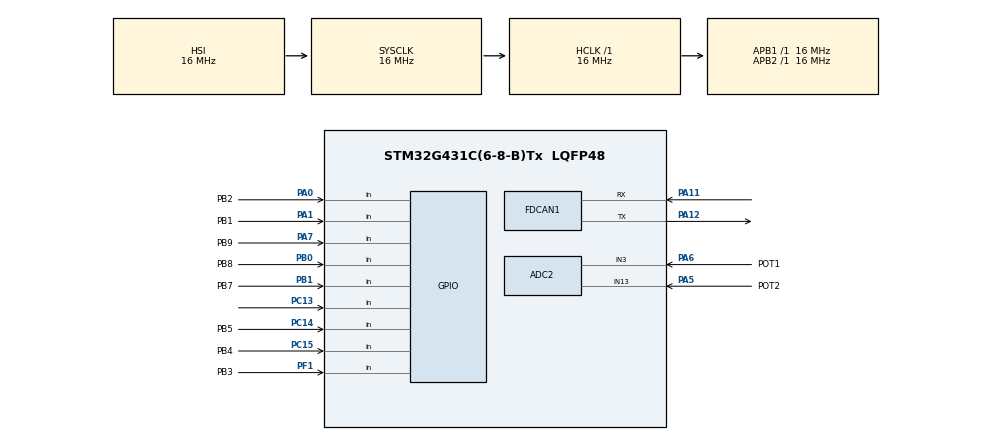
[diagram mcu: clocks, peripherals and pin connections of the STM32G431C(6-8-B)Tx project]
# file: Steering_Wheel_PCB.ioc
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ADC2.Channel-0\#ChannelRegularConversion=ADC_CHANNEL_13
ADC2.Channel-1\#ChannelRegularConversion=ADC_CHANNEL_3
ADC2.ClockPrescaler=ADC_CLOCK_ASYNC_DIV1
ADC2.ContinuousConvMode=DISABLE
ADC2.DMAContinuousRequests=ENABLE
ADC2.ExternalTrigConv=ADC_EXTERNALTRIG_T1_TRGO
ADC2.NbrOfConversion=2
ADC2.NbrOfConversionFlag=1
ADC2.OffsetNumber-0\#ChannelRegularConversion=ADC_OFFSET_NONE
ADC2.OffsetNumber-1\#ChannelRegularConversion=ADC_OFFSET_NONE
ADC2.Rank-0\#ChannelRegularConversion=1
ADC2.Rank-1\#ChannelRegularConversion=2
ADC2.SamplingTime-0\#ChannelRegularConversion=ADC_SAMPLETIME_2CYCLES_5
ADC2.SamplingTime-1\#ChannelRegularConversion=ADC_SAMPLETIME_2CYCLES_5
Dma.ADC2.0.Direction=DMA_PERIPH_TO_MEMORY
Dma.ADC2.0.EventEnable=DISABLE
Dma.ADC2.0.Instance=DMA1_Channel1
Dma.ADC2.0.MemDataAlignment=DMA_MDATAALIGN_HALFWORD
Dma.ADC2.0.MemInc=DMA_MINC_ENABLE
Dma.ADC2.0.Mode=DMA_CIRCULAR
Dma.ADC2.0.PeriphDataAlignment=DMA_PDATAALIGN_HALFWORD
Dma.ADC2.0.PeriphInc=DMA_PINC_DISABLE
Dma.ADC2.0.Polarity=HAL_DMAMUX_REQ_GEN_RISING
Dma.ADC2.0.Priority=DMA_PRIORITY_LOW
Dma.ADC2.0.RequestNumber=1
Dma.ADC2.0.SignalID=NONE
Dma.ADC2.0.SyncEnable=DISABLE
Dma.ADC2.0.SyncPolarity=HAL_DMAMUX_SYNC_NO_EVENT
Dma.ADC2.0.SyncRequestNumber=1
Dma.ADC2.0.SyncSignalID=NONE
Dma.Request0=ADC2
FDCAN1.CalculateBaudRateNominal=1000000
FDCAN1.CalculateTimeBitNominal=1000
FDCAN1.CalculateTimeQuantumNominal=50.0
FDCAN1.DataSyncJumpWidth=3
FDCAN1.DataTimeSeg1=16
FDCAN1.DataTimeSeg2=3
FDCAN1.NominalPrescaler=1
FDCAN1.NominalSyncJumpWidth=3
FDCAN1.NominalTimeSeg1=16
FDCAN1.NominalTimeSeg2=3
Mcu.Family=STM32G4
Mcu.Name=STM32G431C(6-8-B)Tx
Mcu.Package=LQFP48
NVIC.DMA1_Channel1_IRQn=true\:0\:0\:false\:false\:true\:false\:true\:true
NVIC.PriorityGroup=NVIC_PRIORITYGROUP_4
NVIC.TIM1_BRK_TIM15_IRQn=true\:0\:0\:false\:false\:true\:true\:true\:true
NVIC.TIM1_TRG_COM_TIM17_IRQn=true\:0\:0\:false\:false\:true\:true\:true\:true
NVIC.TIM1_UP_TIM16_IRQn=true\:0\:0\:false\:false\:true\:true\:true\:true
NVIC.TIM4_IRQn=true\:0\:0\:false\:false\:true\:true\:true\:true
PA0.GPIO_Label=PB2
PA0.Signal=GPIO_Input
PA1.GPIO_Label=PB1
PA1.Signal=GPIO_Input
PA11.Mode=FDCAN_Activate
PA11.Signal=FDCAN1_RX
PA12.Mode=FDCAN_Activate
PA12.Signal=FDCAN1_TX
PA13.Mode=Trace_Asynchronous_SW
PA13.Signal=SYS_JTMS-SWDIO
PA14.Mode=Trace_Asynchronous_SW
PA14.Signal=SYS_JTCK-SWCLK
PA5.GPIO_Label=POT2
PA5.Mode=IN13-Single-Ended
PA5.Signal=ADC2_IN13
PA6.GPIO_Label=POT1
PA6.Mode=IN3-Single-Ended
PA6.Signal=ADC2_IN3
PA7.GPIO_Label=PB9
PA7.Signal=GPIO_Input
PB0.GPIO_Label=PB8
PB0.Signal=GPIO_Input
PB1.GPIO_Label=PB7
PB1.Signal=GPIO_Input
PB3.Mode=Trace_Asynchronous_SW
PB3.Signal=SYS_JTDO-SWO
PC13.Signal=GPIO_Input
PC14-OSC32_IN.GPIO_Label=PB5
PC14-OSC32_IN.Signal=GPIO_Input
PC15-OSC32_OUT.GPIO_Label=PB4
PC15-OSC32_OUT.Signal=GPIO_Input
PF1-OSC_OUT.GPIO_Label=PB3
PF1-OSC_OUT.Signal=GPIO_Input
ProjectManager.HeapSize=0x200
ProjectManager.StackSize=0x400
ProjectManager.TargetToolchain=STM32CubeIDE
RCC.ADC12Freq_Value=16000000
RCC.AHBFreq_Value=16000000
RCC.APB1Freq_Value=16000000
RCC.APB1TimFreq_Value=16000000
RCC.APB2Freq_Value=16000000
RCC.APB2TimFreq_Value=16000000
RCC.CortexFreq_Value=16000000
RCC.EXTERNAL_CLOCK_VALUE=12288000
RCC.FDCANCLockSelection=RCC_FDCANCLKSOURCE_PLL
RCC.HCLKFreq_Value=16000000
RCC.HSE_VALUE=8000000
RCC.HSI48_VALUE=48000000
RCC.HSI_VALUE=16000000
RCC.LSE_VALUE=32768
RCC.PLLN=10
RCC.PLLQ=RCC_PLLQ_DIV8
RCC.SYSCLKFreq_VALUE=16000000
RCC.USBFreq_Value=20000000
RCC.VCOOutputFreq_Value=160000000
TIM1.PeriodNoDither=1600-1
TIM1.TIM_MasterOutputTrigger=TIM_TRGO_UPDATE
TIM1.TIM_MasterOutputTrigger2=TIM_TRGO2_UPDATE
TIM4.PeriodNoDither=1280 - 1
TIM4.Prescaler=100 - 1
TIM4.TIM_MasterOutputTrigger=TIM_TRGO_UPDATE
VP_TIM1_VS_ClockSourceINT.Mode=Internal
VP_TIM4_VS_ClockSourceINT.Mode=Internal
board=custom

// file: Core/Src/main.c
/* USER CODE BEGIN Header */
/**
  ******************************************************************************
  * @file           : main.c
  * @brief          : Main program body
  ******************************************************************************
  * @attention
  *
  * Copyright (c) 2023 STMicroelectronics.
  * All rights reserved.
  *
  * This software is licensed under terms that can be found in the LICENSE file
  * in the root directory of this software component.
  * If no LICENSE file comes with this software, it is provided AS-IS.
  *
  ******************************************************************************
  */
/* USER CODE END Header */
#include "main.h"

ADC_HandleTypeDef hadc2;
DMA_HandleTypeDef hdma_adc2;

FDCAN_HandleTypeDef hfdcan1;

TIM_HandleTypeDef htim1;
TIM_HandleTypeDef htim4;

/* USER CODE BEGIN PV */
//FDCAN_RxHeaderTypeDef RxHeader;
FDCAN_TxHeaderTypeDef TxHeader;
//uint8_t RxData[8];
uint8_t TxData[8];
/* USER CODE END PV */

void SystemClock_Config(void);
static void MX_GPIO_Init(void);
static void MX_DMA_Init(void);
static void MX_FDCAN1_Init(void);
static void MX_TIM4_Init(void);
static void MX_ADC2_Init(void);
static void MX_TIM1_Init(void);

int main(void)
{

  /* MCU Configuration--------------------------------------------------------*/

  /* Reset of all peripherals, Initializes the Flash interface and the Systick. */
  HAL_Init();

  /* Configure the system clock */
  SystemClock_Config();

  /* Initialize all configured peripherals */
  MX_GPIO_Init();
  MX_DMA_Init();
  MX_FDCAN1_Init();
  MX_TIM4_Init();
  MX_ADC2_Init();
  MX_TIM1_Init();
  /* USER CODE BEGIN 2 */
  //Defining variables
  #define ADC_BUF_LEN 2
  uint16_t AdcResults[ADC_BUF_LEN];
  uint8_t  digital_word = 0; //Digital Input Data
  uint16_t analog1_word = 0; //Analog Input Data 1
  uint16_t analog2_word = 0; //Analog Input Data 2
  uint8_t analog1_half1 = 0; //Lower 8 bits
  uint8_t analog1_half2 = 0; //Upper 4 bits
  uint8_t analog2_half1 = 0; //Lower 8 bits
  uint8_t analog2_half2 = 0; //Upper 4 bits

  //Starting timers
  HAL_TIM_Base_Start_IT(&htim1);
  HAL_TIM_Base_Start_IT(&htim4);

  //Starting DMA
  HAL_ADC_Start_DMA(&hadc2, (uint32_t*)AdcResults, ADC_BUF_LEN);
  /* USER CODE END 2 */

  /* Infinite loop */
  while (1)
  {

    /* USER CODE BEGIN 3 */
	analog1_word = AdcResults[0]; //Analog Input Data 1
	analog2_word = AdcResults[1]; //Analog Input Data 2
	analog1_half1 = (0b11111111 & analog1_word); //lower 8 bits
	analog1_half2 = ((0b11111111<<8) & analog1_word)>>8; //upper 8 bits
	analog2_half1 = (0b11111111 & analog2_word); //lower 8 bits
	analog2_half2 = ((0b11111111<<8) & analog2_word)>>8; //upper 8 bits

	//Connectors from right to left mapped to bits 0 through 7. J6 (last connector on the left) is unused.
	//| MSB:J10 | J12 | J7 | J9 | J11 | J13 | J5 | J8:LSB |
	digital_word = 0x00;
	digital_word = digital_word |  HAL_GPIO_ReadPin(GPIOC, GPIO_PIN_13); 	//PB6, J8
	digital_word = digital_word | (HAL_GPIO_ReadPin(GPIOC, GPIO_PIN_14)) <<1; 		//PB5, J5
	digital_word = digital_word | (HAL_GPIO_ReadPin(GPIOC, GPIO_PIN_15)) <<2; 	//PB4, J13
	digital_word = digital_word | (HAL_GPIO_ReadPin(GPIOF, GPIO_PIN_1)) <<3; 	//PB3, J11
	digital_word = digital_word | (HAL_GPIO_ReadPin(GPIOA, GPIO_PIN_0)) <<4; 	//PB2, J9
	digital_word = digital_word | (HAL_GPIO_ReadPin(GPIOA, GPIO_PIN_1)) <<5; 	//PB1, J7
	digital_word = digital_word | (HAL_GPIO_ReadPin(GPIOA, GPIO_PIN_7)) <<6; 	//PB9, J12
	digital_word = digital_word | (HAL_GPIO_ReadPin(GPIOB, GPIO_PIN_0)) <<7; 	//PB8, J10

	//Defining CAN message to be sent
	TxData[0] = analog2_half2;//analog2 upper 4 bits
	TxData[1] = analog2_half1;//analog2 lower 8 bits
	TxData[2] = analog1_half2;//analog1 upper 4 bits
	TxData[3] = analog1_half1;//analog1 lower 8 bits
	TxData[4] = digital_word; //Digital input Byte
	TxData[5] = 0x00;
	TxData[6] = 0x00;
	TxData[7] = 0x00;

	//Toggling indicator output (debug)
	//HAL_GPIO_TogglePin(GPIOC, GPIO_PIN_13);
	//HAL_Delay(8);
  }
  /* USER CODE END 3 */
}

void SystemClock_Config(void)
{
  RCC_OscInitTypeDef RCC_OscInitStruct = {0};
  RCC_ClkInitTypeDef RCC_ClkInitStruct = {0};

  /** Configure the main internal regulator output voltage
  */
  HAL_PWREx_ControlVoltageScaling(PWR_REGULATOR_VOLTAGE_SCALE1);

  /** Initializes the RCC Oscillators according to the specified parameters
  * in the RCC_OscInitTypeDef structure.
  */
  RCC_OscInitStruct.OscillatorType = RCC_OSCILLATORTYPE_HSI;
  RCC_OscInitStruct.HSIState = RCC_HSI_ON;
  RCC_OscInitStruct.HSICalibrationValue = RCC_HSICALIBRATION_DEFAULT;
  RCC_OscInitStruct.PLL.PLLState = RCC_PLL_ON;
  RCC_OscInitStruct.PLL.PLLSource = RCC_PLLSOURCE_HSI;
  RCC_OscInitStruct.PLL.PLLM = RCC_PLLM_DIV1;
  RCC_OscInitStruct.PLL.PLLN = 10;
  RCC_OscInitStruct.PLL.PLLP = RCC_PLLP_DIV2;
  RCC_OscInitStruct.PLL.PLLQ = RCC_PLLQ_DIV8;
  RCC_OscInitStruct.PLL.PLLR = RCC_PLLR_DIV2;
  if (HAL_RCC_OscConfig(&RCC_OscInitStruct) != HAL_OK)
  {
    Error_Handler();
  }

  /** Initializes the CPU, AHB and APB buses clocks
  */
  RCC_ClkInitStruct.ClockType = RCC_CLOCKTYPE_HCLK|RCC_CLOCKTYPE_SYSCLK
                              |RCC_CLOCKTYPE_PCLK1|RCC_CLOCKTYPE_PCLK2;
  RCC_ClkInitStruct.SYSCLKSource = RCC_SYSCLKSOURCE_HSI;
  RCC_ClkInitStruct.AHBCLKDivider = RCC_SYSCLK_DIV1;
  RCC_ClkInitStruct.APB1CLKDivider = RCC_HCLK_DIV1;
  RCC_ClkInitStruct.APB2CLKDivider = RCC_HCLK_DIV1;

  if (HAL_RCC_ClockConfig(&RCC_ClkInitStruct, FLASH_LATENCY_0) != HAL_OK)
  {
    Error_Handler();
  }
}

static void MX_ADC2_Init(void)
{

  ADC_ChannelConfTypeDef sConfig = {0};

  /** Common config
  */
  hadc2.Instance = ADC2;
  hadc2.Init.ClockPrescaler = ADC_CLOCK_ASYNC_DIV1;
  hadc2.Init.Resolution = ADC_RESOLUTION_12B;
  hadc2.Init.DataAlign = ADC_DATAALIGN_RIGHT;
  hadc2.Init.GainCompensation = 0;
  hadc2.Init.ScanConvMode = ADC_SCAN_ENABLE;
  hadc2.Init.EOCSelection = ADC_EOC_SINGLE_CONV;
  hadc2.Init.LowPowerAutoWait = DISABLE;
  hadc2.Init.ContinuousConvMode = DISABLE;
  hadc2.Init.NbrOfConversion = 2;
  hadc2.Init.DiscontinuousConvMode = DISABLE;
  hadc2.Init.ExternalTrigConv = ADC_EXTERNALTRIG_T1_TRGO;
  hadc2.Init.ExternalTrigConvEdge = ADC_EXTERNALTRIGCONVEDGE_RISING;
  hadc2.Init.DMAContinuousRequests = ENABLE;
  hadc2.Init.Overrun = ADC_OVR_DATA_PRESERVED;
  hadc2.Init.OversamplingMode = DISABLE;
  if (HAL_ADC_Init(&hadc2) != HAL_OK)
  {
    Error_Handler();
  }

  /** Configure Regular Channel
  */
  sConfig.Channel = ADC_CHANNEL_13;
  sConfig.Rank = ADC_REGULAR_RANK_1;
  sConfig.SamplingTime = ADC_SAMPLETIME_2CYCLES_5;
  sConfig.SingleDiff = ADC_SINGLE_ENDED;
  sConfig.OffsetNumber = ADC_OFFSET_NONE;
  sConfig.Offset = 0;
  if (HAL_ADC_ConfigChannel(&hadc2, &sConfig) != HAL_OK)
  {
    Error_Handler();
  }

  /** Configure Regular Channel
  */
  sConfig.Channel = ADC_CHANNEL_3;
  sConfig.Rank = ADC_REGULAR_RANK_2;
  if (HAL_ADC_ConfigChannel(&hadc2, &sConfig) != HAL_OK)
  {
    Error_Handler();
  }

}

static void MX_FDCAN1_Init(void)
{

  hfdcan1.Instance = FDCAN1;
  hfdcan1.Init.ClockDivider = FDCAN_CLOCK_DIV1;
  hfdcan1.Init.FrameFormat = FDCAN_FRAME_CLASSIC;
  hfdcan1.Init.Mode = FDCAN_MODE_NORMAL;
  hfdcan1.Init.AutoRetransmission = DISABLE;
  hfdcan1.Init.TransmitPause = DISABLE;
  hfdcan1.Init.ProtocolException = DISABLE;
  hfdcan1.Init.NominalPrescaler = 1;
  hfdcan1.Init.NominalSyncJumpWidth = 3;
  hfdcan1.Init.NominalTimeSeg1 = 16;
  hfdcan1.Init.NominalTimeSeg2 = 3;
  hfdcan1.Init.DataPrescaler = 1;
  hfdcan1.Init.DataSyncJumpWidth = 3;
  hfdcan1.Init.DataTimeSeg1 = 16;
  hfdcan1.Init.DataTimeSeg2 = 3;
  hfdcan1.Init.StdFiltersNbr = 0;
  hfdcan1.Init.ExtFiltersNbr = 0;
  hfdcan1.Init.TxFifoQueueMode = FDCAN_TX_FIFO_OPERATION;
  if (HAL_FDCAN_Init(&hfdcan1) != HAL_OK)
  {
    Error_Handler();
  }
  /* USER CODE BEGIN FDCAN1_Init 2 */
  FDCAN_FilterTypeDef sFilterConfig;

    /* Configure Rx filter */
    sFilterConfig.IdType = FDCAN_STANDARD_ID;
    sFilterConfig.FilterIndex = 0;
    sFilterConfig.FilterType = FDCAN_FILTER_MASK;
    sFilterConfig.FilterConfig = FDCAN_FILTER_TO_RXFIFO0;
    sFilterConfig.FilterID1 = 0x321;
    sFilterConfig.FilterID2 = 0x7FF;
    if (HAL_FDCAN_ConfigFilter(&hfdcan1, &sFilterConfig) != HAL_OK)
    {
      Error_Handler();
    }

    /* Configure global filter:
       Filter all remote frames with STD and EXT ID
       Reject non matching frames with STD ID and EXT ID */
    if (HAL_FDCAN_ConfigGlobalFilter(&hfdcan1, FDCAN_REJECT, FDCAN_REJECT, FDCAN_FILTER_REMOTE, FDCAN_FILTER_REMOTE) != HAL_OK)
    {
      Error_Handler();
    }

    /* Start the FDCAN module */
    if (HAL_FDCAN_Start(&hfdcan1) != HAL_OK)
    {
      Error_Handler();
    }

    if (HAL_FDCAN_ActivateNotification(&hfdcan1, FDCAN_IT_RX_FIFO0_NEW_MESSAGE, 0) != HAL_OK)
    {
      Error_Handler();
    }

    /* Prepare Tx Header */
    TxHeader.Identifier = 0x400; //Determines ID of CAN message
    TxHeader.IdType = FDCAN_STANDARD_ID;
    TxHeader.TxFrameType = FDCAN_DATA_FRAME;
    TxHeader.DataLength = FDCAN_DLC_BYTES_8; //Specifies the number of data bytes to be transmitted
    TxHeader.ErrorStateIndicator = FDCAN_ESI_ACTIVE;
    TxHeader.BitRateSwitch = FDCAN_BRS_OFF;
    TxHeader.FDFormat = FDCAN_CLASSIC_CAN;
    TxHeader.TxEventFifoControl = FDCAN_NO_TX_EVENTS;
    TxHeader.MessageMarker = 0;
  /* USER CODE END FDCAN1_Init 2 */

}

static void MX_TIM1_Init(void)
{

  TIM_ClockConfigTypeDef sClockSourceConfig = {0};
  TIM_MasterConfigTypeDef sMasterConfig = {0};

  htim1.Instance = TIM1;
  htim1.Init.Prescaler = 0;
  htim1.Init.CounterMode = TIM_COUNTERMODE_UP;
  htim1.Init.Period = 1599;
  htim1.Init.ClockDivision = TIM_CLOCKDIVISION_DIV1;
  htim1.Init.RepetitionCounter = 0;
  htim1.Init.AutoReloadPreload = TIM_AUTORELOAD_PRELOAD_DISABLE;
  if (HAL_TIM_Base_Init(&htim1) != HAL_OK)
  {
    Error_Handler();
  }
  sClockSourceConfig.ClockSource = TIM_CLOCKSOURCE_INTERNAL;
  if (HAL_TIM_ConfigClockSource(&htim1, &sClockSourceConfig) != HAL_OK)
  {
    Error_Handler();
  }
  sMasterConfig.MasterOutputTrigger = TIM_TRGO_UPDATE;
  sMasterConfig.MasterOutputTrigger2 = TIM_TRGO2_UPDATE;
  sMasterConfig.MasterSlaveMode = TIM_MASTERSLAVEMODE_DISABLE;
  if (HAL_TIMEx_MasterConfigSynchronization(&htim1, &sMasterConfig) != HAL_OK)
  {
    Error_Handler();
  }

}

static void MX_TIM4_Init(void)
{

  TIM_ClockConfigTypeDef sClockSourceConfig = {0};
  TIM_MasterConfigTypeDef sMasterConfig = {0};

  htim4.Instance = TIM4;
  htim4.Init.Prescaler = 100 - 1;
  htim4.Init.CounterMode = TIM_COUNTERMODE_UP;
  htim4.Init.Period = 1279;
  htim4.Init.ClockDivision = TIM_CLOCKDIVISION_DIV1;
  htim4.Init.AutoReloadPreload = TIM_AUTORELOAD_PRELOAD_DISABLE;
  if (HAL_TIM_Base_Init(&htim4) != HAL_OK)
  {
    Error_Handler();
  }
  sClockSourceConfig.ClockSource = TIM_CLOCKSOURCE_INTERNAL;
  if (HAL_TIM_ConfigClockSource(&htim4, &sClockSourceConfig) != HAL_OK)
  {
    Error_Handler();
  }
  sMasterConfig.MasterOutputTrigger = TIM_TRGO_UPDATE;
  sMasterConfig.MasterSlaveMode = TIM_MASTERSLAVEMODE_DISABLE;
  if (HAL_TIMEx_MasterConfigSynchronization(&htim4, &sMasterConfig) != HAL_OK)
  {
    Error_Handler();
  }

}

static void MX_DMA_Init(void)
{

  /* DMA controller clock enable */
  __HAL_RCC_DMAMUX1_CLK_ENABLE();
  __HAL_RCC_DMA1_CLK_ENABLE();

  /* DMA interrupt init */
  /* DMA1_Channel1_IRQn interrupt configuration */
  HAL_NVIC_SetPriority(DMA1_Channel1_IRQn, 0, 0);
  HAL_NVIC_EnableIRQ(DMA1_Channel1_IRQn);

}

static void MX_GPIO_Init(void)
{
  GPIO_InitTypeDef GPIO_InitStruct = {0};

  /* GPIO Ports Clock Enable */
  __HAL_RCC_GPIOC_CLK_ENABLE();
  __HAL_RCC_GPIOF_CLK_ENABLE();
  __HAL_RCC_GPIOA_CLK_ENABLE();
  __HAL_RCC_GPIOB_CLK_ENABLE();

  /*Configure GPIO pins : PC13 PB5_Pin PB4_Pin */
  GPIO_InitStruct.Pin = GPIO_PIN_13|PB5_Pin|PB4_Pin;
  GPIO_InitStruct.Mode = GPIO_MODE_INPUT;
  GPIO_InitStruct.Pull = GPIO_NOPULL;
  HAL_GPIO_Init(GPIOC, &GPIO_InitStruct);

  /*Configure GPIO pin : PB3_Pin */
  GPIO_InitStruct.Pin = PB3_Pin;
  GPIO_InitStruct.Mode = GPIO_MODE_INPUT;
  GPIO_InitStruct.Pull = GPIO_NOPULL;
  HAL_GPIO_Init(PB3_GPIO_Port, &GPIO_InitStruct);

  /*Configure GPIO pins : PB2_Pin PB1_Pin PB9_Pin */
  GPIO_InitStruct.Pin = PB2_Pin|PB1_Pin|PB9_Pin;
  GPIO_InitStruct.Mode = GPIO_MODE_INPUT;
  GPIO_InitStruct.Pull = GPIO_NOPULL;
  HAL_GPIO_Init(GPIOA, &GPIO_InitStruct);

  /*Configure GPIO pins : PB8_Pin PB7_Pin */
  GPIO_InitStruct.Pin = PB8_Pin|PB7_Pin;
  GPIO_InitStruct.Mode = GPIO_MODE_INPUT;
  GPIO_InitStruct.Pull = GPIO_NOPULL;
  HAL_GPIO_Init(GPIOB, &GPIO_InitStruct);

}

/* USER CODE BEGIN 4 */

//ADC Callback function
void HAL_ADC_ConvCpltCallback(ADC_HandleTypeDef* hadc2)
{
	UNUSED(hadc2); //is this functionally important?
	HAL_GPIO_TogglePin(GPIOC, GPIO_PIN_13);
	//HAL_GPIO_WritePin(port, pinname, GPIO_PIN_SET);
	//asm("nop");
	//HAL_GPIO_WrtiePin(port, pinname, GPIO_PIN_RESET);
}

//updates the CAN TX FIFO precisely every 8ms
void HAL_TIM_PeriodElapsedCallback(TIM_HandleTypeDef *htim)
{
	//Checks that the interrupt was generated by clock 4
	if(htim == &htim4)
	{
		//Adds another message to the CAN FIFO every 8ms
		HAL_FDCAN_AddMessageToTxFifoQ(&hfdcan1, &TxHeader, TxData);
	}
	if(htim == &htim1)
	{
		//HAL_GPIO_TogglePin(GPIOC, GPIO_PIN_13);
	}
}
/* USER CODE END 4 */

void Error_Handler(void)
{
  __disable_irq();
  while (1)
  {
  }
}
